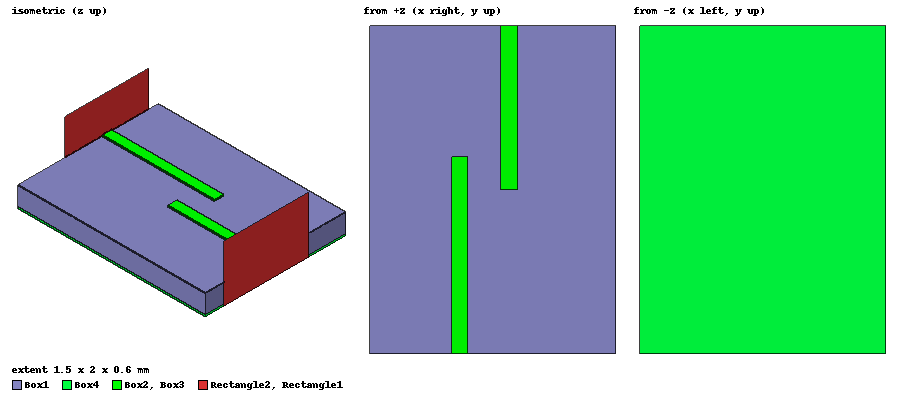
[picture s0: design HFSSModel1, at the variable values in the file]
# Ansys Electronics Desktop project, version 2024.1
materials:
  vacuum: permittivity=1
  copper: permeability=0.999991 conductivity=58000000
  Rogers RT/duroid 5880 (tm): permittivity=2.2 dielectric_loss_tangent=0.0009

design HFSSModel1 (HFSS, HFSS Modal Network, model units mm)
options: Save_Adaptive_support_files
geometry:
  Box1 [Rogers RT/duroid 5880 (tm)] = box(corner=(0mm, 0mm, 0.3mm), size=(1.5mm, 2mm, 0.2mm))
  Box2 [copper] = box(corner=(0.5mm, 0mm, 0.5mm), size=(0.1mm, 1.2mm, 0.01mm))
  Box3 [copper] = box(corner=(0.8mm, 1mm, 0.5mm), size=(0.1mm, 1mm, 0.01mm))
  Box4 [copper] = box(corner=(0mm, 0mm, 0.3mm), size=(1.5mm, 2mm, -0.02mm))
  Rectangle1 = rectangle(corner=(0.1mm, 0mm, 0.28mm), z_size=0.6mm, x_size=0.9mm)
  Rectangle2 = rectangle(corner=(1.3mm, 2mm, 0.28mm), z_size=0.6mm, x_size=-0.9mm)
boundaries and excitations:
  WavePort1: Wave Port Faces=Rectangle1.face WavePortType=Modal NumModes=1 Modes{Mode1{CharImp=Zpi}}
  WavePort2: Wave Port Faces=Rectangle2.face WavePortType=Modal NumModes=1 Modes{Mode1{CharImp=Zpi}}
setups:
  Setup1: HfssDriven Frequency=10GHz MaxDeltaS=0.02 MaximumPasses=20 MinimumPasses=1 MinimumConvergedPasses=1 PercentRefinement=20 BasisOrder=1 PortAccuracy=2 DrivenSolverType="Direct Solver"
    sweep Sweep1: 10GHz to 20GHz step 1GHz; Type=Discrete SaveFields
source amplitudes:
  WavePort1:1: 1 0deg
  WavePort2:1: 0 0deg
